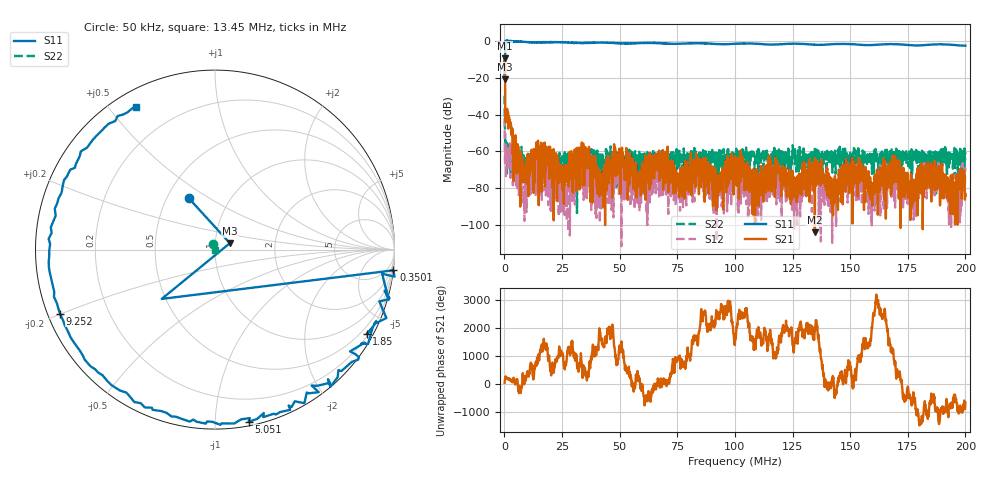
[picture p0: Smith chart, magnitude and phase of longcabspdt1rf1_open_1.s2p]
! 26-Feb-26 11:04:28 AM
! E:\VNA_MEASUREMENTS\LONGCAB_SPDT1_OPENSHORT\LONGCABSPDT1RF1_OPEN_1.S2P
! CHANNEL.1
! TR.MEASUREMENT
! CORRECTED.DATA
# GHZ S RI R 50.0
! FREQ.GHZ  S11RE  S11IM  S21RE  S21IM  S12RE  S12IM  S22RE  S22IM
!; PortSelection: Port_12
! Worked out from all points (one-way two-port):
!   2000 points, 50 kHz to 200 MHz, reference 50 ohm
!   highest |S21| = -9.45 dB at 150 kHz (marker M1); lowest = -103.9 dB at 134.7 MHz (marker M2)
!   lowest |S11| = -20.9 dB at 150 kHz (marker M3), VSWR 1.20, Z = 58.8 + j4.24 ohm
!   |S11| at or under -10 dB: 51.4 kHz to 233.7 kHz (182.3 kHz wide, 128 % of centre)
!   |S22| runs from -93.4 to -29.7 dB; largest |S21 - S12| = 0.34
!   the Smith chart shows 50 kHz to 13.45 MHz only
!   S11 on the Smith chart (normalised r, x): 50 kHz: 0.64, +0.41; 350.1 kHz: -0, -17; 1.85 MHz: 0.26, -3.83; 5.051 MHz: 0.03, -1.21; 9.252 MHz: 0.03, -0.20; 13.45 MHz: 0.06, +0.59
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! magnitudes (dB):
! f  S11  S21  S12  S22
! 50 kHz  -9.8  -12.4  -41.7  -29.7
! 150 kHz  -20.9  -9.5  -59.7  -44.0
! 350.1 kHz  0.0  -40.7  -62.8  -56.7
! 1.85 MHz  -0.3  -41.7  -63.2  -63.8
! 5.051 MHz  -0.2  -66.1  -78.5  -66.1
! 9.252 MHz  -0.6  -70.9  -91.1  -63.0
! 13.45 MHz  -0.8  -60.5  -69.8  -68.8
! 25.16 MHz  -0.7  -69.9  -84.2  -62.7
! 33.46 MHz  -1.2  -64.7  -70.5  -65.0
! 41.36 MHz  -0.9  -74.4  -98.6  -64.9
! 50.86 MHz  -1.3  -62.8  -70.9  -62.8
! 58.66 MHz  -1.1  -71.5  -80.0  -77.1
! 66.77 MHz  -1.1  -62.7  -70.2  -66.3
! 76.27 MHz  -1.6  -80.7  -78.6  -66.6
! 100.1 MHz  -1.5  -63.8  -76.9  -61.9
! 110.1 MHz  -1.6  -73.9  -94.7  -73.7
! 118.4 MHz  -1.9  -68.1  -83.3  -64.8
! 133.4 MHz  -1.9  -73.6  -92.7  -68.1
! 134.7 MHz  -2.1  -103.9  -74.4  -57.7
! 166.7 MHz  -1.8  -74.7  -76.3  -64.6
! 193.5 MHz  -2.0  -88.7  -81.8  -64.6
! 200 MHz  -2.6  -83.8  -68.7  -60.5
